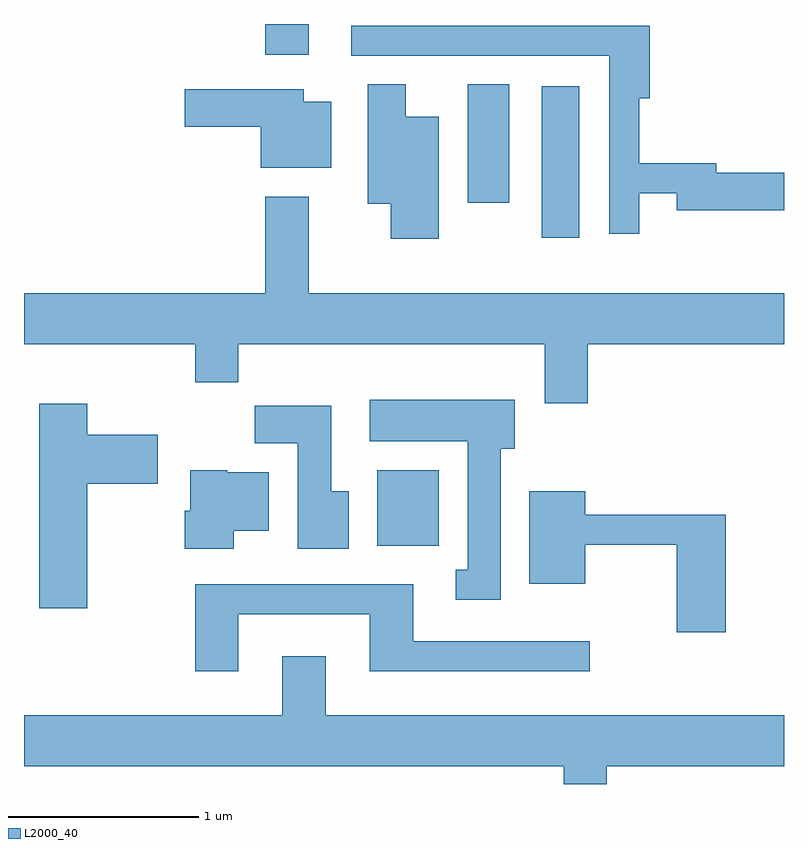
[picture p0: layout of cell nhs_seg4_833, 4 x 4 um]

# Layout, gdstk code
import gdstk
lib = gdstk.Library(unit=1e-6, precision=1e-09)
def R(c, l, rs):  # rectangles x0, y0, x1, y1
    for r in rs: c.add(gdstk.rectangle(r[:2], r[2:], *l))
def P(c, l, *ps):  # polygons
    for p in ps: c.add(gdstk.Polygon(p, *l))
L2000_40 = (2000, 40)

nhs_seg4_833 = lib.new_cell('nhs_seg4_833')
R(nhs_seg4_833, L2000_40, [(211.471,1289.236,211.794,1289.634), (212.336,1290.856,212.534,1291.654), (211.946,1291.041,212.164,1291.664), (210.881,1291.821,211.109,1291.982)])
P(nhs_seg4_833, L2000_40, [(212.849,1291.091),(213.046,1291.091),(213.046,1291.001),(213.611,1291.001),(213.611,1291.199),(213.254,1291.199),(213.254,1291.249),(212.849,1291.249),(212.849,1291.591),(212.904,1291.591),(212.904,1291.974),(211.333,1291.974),(211.333,1291.816),(212.691,1291.816),(212.691,1290.878),(212.849,1290.878)],
  [(211.794,1291.494),(211.619,1291.494),(211.619,1291.664),(211.421,1291.664),(211.421,1291.036),(211.541,1291.036),(211.541,1290.851),(211.794,1290.851)],
  [(211.229,1291.574),(211.084,1291.574),(211.084,1291.639),(210.456,1291.639),(210.456,1291.441),(210.856,1291.441),(210.856,1291.226),(211.229,1291.226)],
  [(212.579,1290.296),(213.611,1290.296),(213.611,1290.564),(211.109,1290.564),(211.109,1291.074),(210.881,1291.074),(210.881,1290.564),(209.611,1290.564),(209.611,1290.296),(210.511,1290.296),(210.511,1290.096),(210.739,1290.096),(210.739,1290.296),(212.351,1290.296),(212.351,1289.986),(212.579,1289.986)],
  [(212.119,1289.746),(212.194,1289.746),(212.194,1290.004),(211.431,1290.004),(211.431,1289.786),(211.946,1289.786),(211.946,1289.109),(211.883,1289.109),(211.883,1288.951),(212.119,1288.951)],
  [(209.944,1289.561),(210.314,1289.561),(210.314,1289.819),(209.944,1289.819),(209.944,1289.984),(209.691,1289.984),(209.691,1288.906),(209.944,1288.906)],
  [(211.319,1289.524),(211.229,1289.524),(211.229,1289.974),(210.826,1289.974),(210.826,1289.776),(211.051,1289.776),(211.051,1289.221),(211.319,1289.221)],
  [(210.714,1289.316),(210.899,1289.316),(210.899,1289.624),(210.68,1289.624),(210.68,1289.634),(210.486,1289.634),(210.486,1289.419),(210.456,1289.419),(210.456,1289.221),(210.714,1289.221)],
  [(213.304,1289.399),(212.564,1289.399),(212.564,1289.524),(212.271,1289.524),(212.271,1289.036),(212.564,1289.036),(212.564,1289.241),(213.046,1289.241),(213.046,1288.781),(213.304,1288.781)],
  [(210.739,1288.876),(211.431,1288.876),(211.431,1288.576),(212.588,1288.576),(212.588,1288.734),(211.659,1288.734),(211.659,1289.034),(210.511,1289.034),(210.511,1288.576),(210.739,1288.576)],
  [(212.679,1288.076),(213.611,1288.076),(213.611,1288.344),(211.199,1288.344),(211.199,1288.654),(210.971,1288.654),(210.971,1288.344),(209.611,1288.344),(209.611,1288.076),(212.451,1288.076),(212.451,1287.982),(212.679,1287.982)])

lib.write_gds('nhs_seg4_833.gds')
